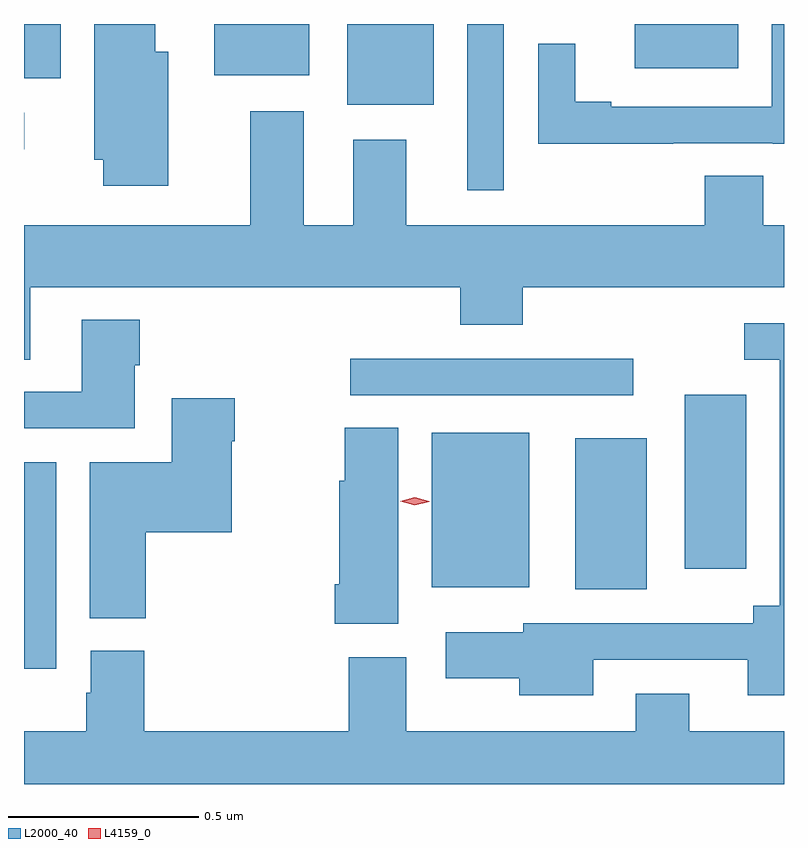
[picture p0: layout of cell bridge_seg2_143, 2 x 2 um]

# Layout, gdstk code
import gdstk
lib = gdstk.Library(unit=1e-6, precision=1e-09)
def R(c, l, rs):  # rectangles x0, y0, x1, y1
    for r in rs: c.add(gdstk.rectangle(r[:2], r[2:], *l))
def P(c, l, *ps):  # polygons
    for p in ps: c.add(gdstk.Polygon(p, *l))
L2000_40 = (2000, 40)
L4159_0 = (4159, 0)

bridge_seg2_143 = lib.new_cell('bridge_seg2_143')
R(bridge_seg2_143, L2000_40, [(255.975,655.956,256.06,656.5), (257.426,656.165,257.614,656.563), (257.048,656.171,257.305,656.578), (257.714,656.22,257.875,656.677), (256.833,656.676,257.578,656.772), (257.142,657.216,257.238,657.653), (255.975,657.323,255.976,657.42), (256.826,657.44,257.053,657.653), (255.975,657.51,256.072,657.653), (256.475,657.518,256.726,657.653), (257.582,657.536,257.854,657.653)])
P(bridge_seg2_143, L2000_40, [(257.684,657.339),(257.946,657.339),(257.946,657.338),(257.975,657.338),(257.975,657.653),(257.943,657.653),(257.943,657.435),(257.521,657.435),(257.521,657.448),(257.425,657.448),(257.425,657.601),(257.328,657.601),(257.328,657.338),(257.684,657.338)],
  [(256.354,657.58),(256.321,657.58),(256.321,657.653),(256.16,657.653),(256.16,657.296),(256.184,657.296),(256.184,657.228),(256.354,657.228)],
  [(256.981,657.349),(256.841,657.349),(256.841,657.124),(256.711,657.124),(256.711,657.424),(256.571,657.424),(256.571,657.124),(255.975,657.124),(255.975,656.77),(255.991,656.77),(255.991,656.96),(257.123,656.96),(257.123,656.861),(257.288,656.861),(257.288,656.96),(257.975,656.96),(257.975,657.124),(257.92,657.124),(257.92,657.254),(257.767,657.254),(257.767,657.124),(256.981,657.124)],
  [(256.267,656.755),(256.279,656.755),(256.279,656.875),(256.127,656.875),(256.127,656.685),(255.975,656.685),(255.975,656.589),(256.267,656.589)],
  [(257.473,655.98),(257.879,655.98),(257.879,655.886),(257.975,655.886),(257.975,656.865),(257.871,656.865),(257.871,656.769),(257.964,656.769),(257.964,656.122),(257.894,656.122),(257.894,656.076),(257.289,656.076),(257.289,656.053),(257.085,656.053),(257.085,655.931),(257.278,655.931),(257.278,655.886),(257.473,655.886)],
  [(256.295,656.315),(256.522,656.315),(256.522,656.555),(256.529,656.555),(256.529,656.668),(256.364,656.668),(256.364,656.5),(256.148,656.5),(256.148,656.089),(256.295,656.089)],
  [(256.96,656.591),(256.819,656.591),(256.819,656.451),(256.805,656.451),(256.805,656.179),(256.793,656.179),(256.793,656.075),(256.96,656.075)],
  [(257.975,655.792),(257.725,655.792),(257.725,655.891),(257.585,655.891),(257.585,655.792),(256.981,655.792),(256.981,655.987),(256.829,655.987),(256.829,655.792),(256.291,655.792),(256.291,656.004),(256.151,656.004),(256.151,655.893),(256.139,655.893),(256.139,655.792),(255.975,655.792),(255.975,655.653),(257.975,655.653)])
P(bridge_seg2_143, L4159_0, [(257.003,656.387),(256.965,656.397),(256.965,656.397),(256.965,656.397),(257.003,656.407),(257.041,656.397),(257.041,656.397),(257.041,656.396)])

lib.write_gds('bridge_seg2_143.gds')
